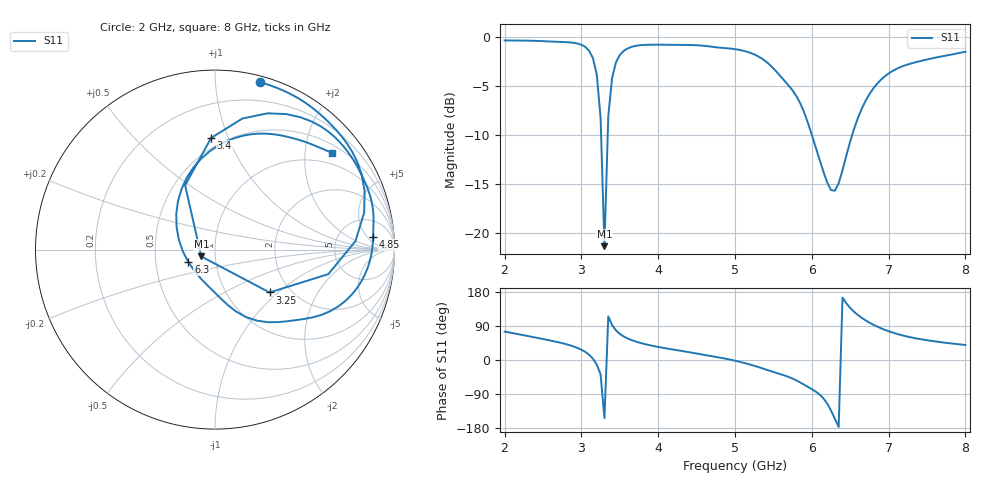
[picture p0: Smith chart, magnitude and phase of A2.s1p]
! Generated by Hertzon (EMerge FEM)
# HZ S RI R 50
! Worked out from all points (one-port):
!   121 points, 2 GHz to 8 GHz, reference 50 ohm
!   lowest |S11| = -21.4 dB at 3.3 GHz (marker M1), VSWR 1.19, Z = 42.8 - j3.31 ohm
!   |S11| at or under -10 dB: 3.257 GHz to 3.343 GHz (86.09 MHz wide, 2.61 % of centre); 6.001 GHz to 6.526 GHz (524.2 MHz wide, 8.37 % of centre)
!   S11 on the Smith chart (normalised r, x): 2 GHz: 0.05, +1.30; 3.25 GHz: 1.57, -0.88; 3.4 GHz: 0.43, +0.87; 4.85 GHz: 11, +7; 6.3 GHz: 0.73, -0.10; 8 GHz: 0.70, +2.62
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2e9  0.249 0.933
2.75e9  0.6777 0.6636
2.95e9  0.7919 0.49
3.1e9  0.8309 0.2059
3.15e9  0.7829 0.0477
3.2e9  0.6316 -0.1365
3.25e9  0.304 -0.2389
3.3e9  -0.0762 -0.0384
3.35e9  -0.1666 0.3581
3.4e9  -0.0217 0.6221
3.45e9  0.1523 0.73
3.5e9  0.292 0.7592
3.6e9  0.4772 0.737
3.75e9  0.6324 0.6568
4.25e9  0.8256 0.3976
4.85e9  0.8807 0.0698
5e9  0.8711 -0.0276
5.3e9  0.7606 -0.2522
5.5e9  0.5912 -0.3643
5.75e9  0.3509 -0.4041
5.9e9  0.1731 -0.3758
6.2e9  -0.076 -0.1644
6.3e9  -0.1486 -0.0693
6.5e9  -0.2158 0.1985
6.7e9  -0.1193 0.4583
6.85e9  0.017 0.579
7.25e9  0.3464 0.6398
8e9  0.6516 0.5382
